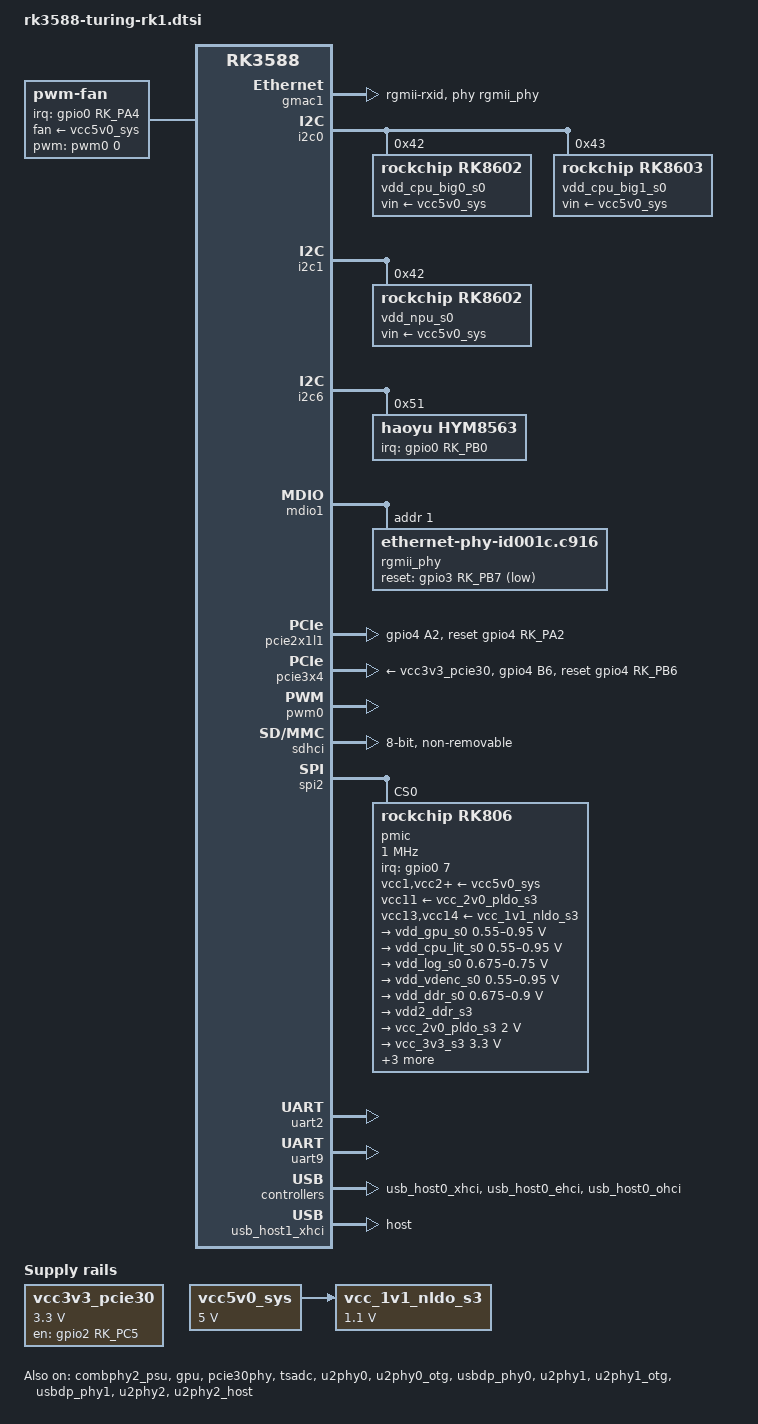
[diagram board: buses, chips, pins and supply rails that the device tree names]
// SPDX-License-Identifier: (GPL-2.0+ OR MIT)
/*
 * Device tree definitions for the Turing RK1 SoM.
 *
 * Copyright (c) 2023 Sam Edwards <CFSworks@gmail.com>
 *
 * Based on RK3588-EVB1 devicetree
 * Copyright (c) 2021 Rockchip Electronics Co., Ltd.
 */

/dts-v1/;
#include <dt-bindings/gpio/gpio.h>
#include <dt-bindings/pinctrl/rockchip.h>
#include "rk3588.dtsi"

/ {
	compatible = "turing,rk1", "rockchip,rk3588";

	aliases {
		ethernet0 = &gmac1;
		mmc0 = &sdhci;
	};

	fan: pwm-fan {
		compatible = "pwm-fan";
		cooling-levels = <0 25 95 145 195 255>;
		fan-supply = <&vcc5v0_sys>;
		pinctrl-names = "default";
		pinctrl-0 = <&pwm0m2_pins &fan_int>;
		interrupt-parent = <&gpio0>;
		interrupts = <RK_PA4 IRQ_TYPE_EDGE_FALLING>;
		pwms = <&pwm0 0 50000 0>;
		#cooling-cells = <2>;
	};

	vcc3v3_pcie30: regulator-vcc3v3-pcie30 {
		compatible = "regulator-fixed";
		regulator-name = "vcc3v3_pcie30";
		regulator-min-microvolt = <3300000>;
		regulator-max-microvolt = <3300000>;
		enable-active-high;
		gpios = <&gpio2 RK_PC5 GPIO_ACTIVE_HIGH>;
		pinctrl-names = "default";
		pinctrl-0 = <&vcc3v3_pcie30_en>;
		startup-delay-us = <5000>;
	};

	vcc5v0_sys: regulator-vcc5v0-sys {
		compatible = "regulator-fixed";
		regulator-name = "vcc5v0_sys";
		regulator-always-on;
		regulator-boot-on;
		regulator-min-microvolt = <5000000>;
		regulator-max-microvolt = <5000000>;
	};

	vcc_1v1_nldo_s3: regulator-vcc-1v1-nldo-s3 {
		compatible = "regulator-fixed";
		regulator-name = "vcc_1v1_nldo_s3";
		regulator-always-on;
		regulator-boot-on;
		regulator-min-microvolt = <1100000>;
		regulator-max-microvolt = <1100000>;
		vin-supply = <&vcc5v0_sys>;
	};
};

&combphy2_psu {
	status = "okay";
};

&cpu_b0 {
	cpu-supply = <&vdd_cpu_big0_s0>;
};

&cpu_b1 {
	cpu-supply = <&vdd_cpu_big0_s0>;
};

&cpu_b2 {
	cpu-supply = <&vdd_cpu_big1_s0>;
};

&cpu_b3 {
	cpu-supply = <&vdd_cpu_big1_s0>;
};

&cpu_l0 {
	cpu-supply = <&vdd_cpu_lit_s0>;
};

&cpu_l1 {
	cpu-supply = <&vdd_cpu_lit_s0>;
};

&cpu_l2 {
	cpu-supply = <&vdd_cpu_lit_s0>;
};

&cpu_l3 {
	cpu-supply = <&vdd_cpu_lit_s0>;
};

&gmac1 {
	clock_in_out = "output";
	phy-handle = <&rgmii_phy>;
	phy-mode = "rgmii-rxid";
	pinctrl-0 = <&gmac1_miim
		     &gmac1_tx_bus2
		     &gmac1_rx_bus2
		     &gmac1_rgmii_clk
		     &gmac1_rgmii_bus>;
	pinctrl-names = "default";
	rx_delay = <0x00>;
	tx_delay = <0x43>;
	status = "okay";
};

&gpu {
	mali-supply = <&vdd_gpu_s0>;
	status = "okay";
};

&i2c0 {
	pinctrl-names = "default";
	pinctrl-0 = <&i2c0m2_xfer>;
	status = "okay";

	vdd_cpu_big0_s0: regulator@42 {
		compatible = "rockchip,rk8602";
		reg = <0x42>;
		fcs,suspend-voltage-selector = <1>;
		regulator-name = "vdd_cpu_big0_s0";
		regulator-always-on;
		regulator-boot-on;
		regulator-min-microvolt = <550000>;
		regulator-max-microvolt = <1050000>;
		regulator-ramp-delay = <2300>;
		vin-supply = <&vcc5v0_sys>;

		regulator-state-mem {
			regulator-off-in-suspend;
		};
	};

	vdd_cpu_big1_s0: regulator@43 {
		compatible = "rockchip,rk8603", "rockchip,rk8602";
		reg = <0x43>;
		fcs,suspend-voltage-selector = <1>;
		regulator-name = "vdd_cpu_big1_s0";
		regulator-always-on;
		regulator-boot-on;
		regulator-min-microvolt = <550000>;
		regulator-max-microvolt = <1050000>;
		regulator-ramp-delay = <2300>;
		vin-supply = <&vcc5v0_sys>;

		regulator-state-mem {
			regulator-off-in-suspend;
		};
	};
};

&i2c1 {
	pinctrl-names = "default";
	pinctrl-0 = <&i2c1m2_xfer>;
	status = "okay";

	vdd_npu_s0: regulator@42 {
		compatible = "rockchip,rk8602";
		reg = <0x42>;
		fcs,suspend-voltage-selector = <1>;
		regulator-name = "vdd_npu_s0";
		regulator-always-on;
		regulator-boot-on;
		regulator-min-microvolt = <550000>;
		regulator-max-microvolt = <950000>;
		regulator-ramp-delay = <2300>;
		vin-supply = <&vcc5v0_sys>;

		regulator-state-mem {
			regulator-off-in-suspend;
		};
	};
};

&i2c6 {
	status = "okay";

	hym8563: rtc@51 {
		compatible = "haoyu,hym8563";
		reg = <0x51>;
		#clock-cells = <0>;
		clock-output-names = "hym8563";
		pinctrl-names = "default";
		pinctrl-0 = <&hym8563_int>;
		interrupt-parent = <&gpio0>;
		interrupts = <RK_PB0 IRQ_TYPE_LEVEL_LOW>;
		wakeup-source;
	};
};

&mdio1 {
	rgmii_phy: ethernet-phy@1 {
		/* RTL8211F */
		compatible = "ethernet-phy-id001c.c916";
		reg = <0x1>;
		pinctrl-names = "default";
		pinctrl-0 = <&rtl8211f_rst>;
		reset-assert-us = <15000>;
		reset-deassert-us = <50000>;
		reset-gpios = <&gpio3 RK_PB7 GPIO_ACTIVE_LOW>;
	};
};

&package_thermal {
	trips {
		package_active1: trip-active1 {
			temperature = <45000>;
			hysteresis = <5000>;
			type = "active";
		};
		package_active2: trip-active2 {
			temperature = <50000>;
			hysteresis = <5000>;
			type = "active";
		};
		package_active3: trip-active3 {
			temperature = <60000>;
			hysteresis = <5000>;
			type = "active";
		};
		package_active4: trip-active4 {
			temperature = <70000>;
			hysteresis = <5000>;
			type = "active";
		};
		package_active5: trip-active5 {
			temperature = <80000>;
			hysteresis = <5000>;
			type = "active";
		};
	};

	cooling-maps {
		map1 {
			trip = <&package_active1>;
			cooling-device = <&fan 1 1>;
		};
		map2 {
			trip = <&package_active2>;
			cooling-device = <&fan 2 2>;
		};
		map3 {
			trip = <&package_active3>;
			cooling-device = <&fan 3 3>;
		};
		map4 {
			trip = <&package_active4>;
			cooling-device = <&fan 4 4>;
		};
		map5 {
			trip = <&package_active5>;
			cooling-device = <&fan 5 5>;
		};
	};
};

&pcie2x1l1 {
	linux,pci-domain = <1>;
	pinctrl-names = "default";
	pinctrl-0 = <&pcie2_reset>, <&pcie30x1m1_0_clkreqn>, <&pcie30x1m1_0_waken>;
	reset-gpios = <&gpio4 RK_PA2 GPIO_ACTIVE_HIGH>;
	status = "okay";
};

&pcie30phy {
	status = "okay";
};

&pcie3x4 {
	linux,pci-domain = <0>;
	pinctrl-names = "default";
	pinctrl-0 = <&pcie3_reset>, <&pcie30x4m1_clkreqn>, <&pcie30x4m1_waken>;
	reset-gpios = <&gpio4 RK_PB6 GPIO_ACTIVE_HIGH>;
	vpcie3v3-supply = <&vcc3v3_pcie30>;
	status = "okay";
};

&pd_gpu {
	domain-supply = <&vdd_gpu_s0>;
};

&pinctrl {
	fan {
		fan_int: fan-int {
			rockchip,pins = <0 RK_PA4 RK_FUNC_GPIO &pcfg_pull_up>;
		};
	};

	hym8563 {
		hym8563_int: hym8563-int {
			rockchip,pins = <0 RK_PB0 RK_FUNC_GPIO &pcfg_pull_up>;
		};
	};

	pcie2 {
		pcie2_reset: pcie2-reset {
			rockchip,pins = <4 RK_PA2 RK_FUNC_GPIO &pcfg_pull_none>;
		};
	};

	pcie3 {
		pcie3_reset: pcie3-reset {
			rockchip,pins = <4 RK_PB6 RK_FUNC_GPIO &pcfg_pull_none>;
		};

		vcc3v3_pcie30_en: pcie3-reg {
			rockchip,pins = <2 RK_PC5 RK_FUNC_GPIO &pcfg_pull_none>;
		};
	};

	rtl8211f {
		rtl8211f_rst: rtl8211f-rst {
			rockchip,pins = <3 RK_PB7 RK_FUNC_GPIO &pcfg_pull_none>;
		};
	};
};

&pwm0 {
	status = "okay";
};

&sdhci {
	bus-width = <8>;
	no-sdio;
	no-sd;
	non-removable;
	mmc-hs400-1_8v;
	mmc-hs400-enhanced-strobe;
	status = "okay";
};

&spi2 {
	status = "okay";
	pinctrl-names = "default";
	pinctrl-0 = <&spi2m2_cs0 &spi2m2_pins>;
	num-cs = <1>;

	pmic@0 {
		compatible = "rockchip,rk806";
		spi-max-frequency = <1000000>;
		reg = <0x0>;

		interrupt-parent = <&gpio0>;
		interrupts = <7 IRQ_TYPE_LEVEL_LOW>;

		pinctrl-names = "default";
		pinctrl-0 = <&pmic_pins>, <&rk806_dvs1_null>,
			    <&rk806_dvs2_null>, <&rk806_dvs3_null>;
		system-power-controller;

		vcc1-supply = <&vcc5v0_sys>;
		vcc2-supply = <&vcc5v0_sys>;
		vcc3-supply = <&vcc5v0_sys>;
		vcc4-supply = <&vcc5v0_sys>;
		vcc5-supply = <&vcc5v0_sys>;
		vcc6-supply = <&vcc5v0_sys>;
		vcc7-supply = <&vcc5v0_sys>;
		vcc8-supply = <&vcc5v0_sys>;
		vcc9-supply = <&vcc5v0_sys>;
		vcc10-supply = <&vcc5v0_sys>;
		vcc11-supply = <&vcc_2v0_pldo_s3>;
		vcc12-supply = <&vcc5v0_sys>;
		vcc13-supply = <&vcc_1v1_nldo_s3>;
		vcc14-supply = <&vcc_1v1_nldo_s3>;
		vcca-supply = <&vcc5v0_sys>;

		gpio-controller;
		#gpio-cells = <2>;

		rk806_dvs1_null: dvs1-null-pins {
			pins = "gpio_pwrctrl1";
			function = "pin_fun0";
		};

		rk806_dvs2_null: dvs2-null-pins {
			pins = "gpio_pwrctrl2";
			function = "pin_fun0";
		};

		rk806_dvs3_null: dvs3-null-pins {
			pins = "gpio_pwrctrl3";
			function = "pin_fun0";
		};

		regulators {
			vdd_gpu_s0: vdd_gpu_mem_s0: dcdc-reg1 {
				/*
				 * RK3588's GPU power domain cannot be enabled
				 * without this regulator active, but it
				 * doesn't have to be on when the GPU PD is
				 * disabled.  Because the PD binding does not
				 * currently allow us to express this
				 * relationship, we have no choice but to do
				 * this instead:
				 */
				regulator-always-on;

				regulator-boot-on;
				regulator-min-microvolt = <550000>;
				regulator-max-microvolt = <950000>;
				regulator-ramp-delay = <12500>;
				regulator-name = "vdd_gpu_s0";
				regulator-enable-ramp-delay = <400>;

				regulator-state-mem {
					regulator-off-in-suspend;
				};
			};

			vdd_cpu_lit_s0: vdd_cpu_lit_mem_s0: dcdc-reg2 {
				regulator-always-on;
				regulator-boot-on;
				regulator-min-microvolt = <550000>;
				regulator-max-microvolt = <950000>;
				regulator-ramp-delay = <12500>;
				regulator-name = "vdd_cpu_lit_s0";

				regulator-state-mem {
					regulator-off-in-suspend;
				};
			};

			vdd_log_s0: dcdc-reg3 {
				regulator-always-on;
				regulator-boot-on;
				regulator-min-microvolt = <675000>;
				regulator-max-microvolt = <750000>;
				regulator-ramp-delay = <12500>;
				regulator-name = "vdd_log_s0";

				regulator-state-mem {
					regulator-off-in-suspend;
					regulator-suspend-microvolt = <750000>;
				};
			};

			vdd_vdenc_s0: vdd_vdenc_mem_s0: dcdc-reg4 {
				regulator-always-on;
				regulator-boot-on;
				regulator-min-microvolt = <550000>;
				regulator-max-microvolt = <950000>;
				regulator-ramp-delay = <12500>;
				regulator-name = "vdd_vdenc_s0";

				regulator-state-mem {
					regulator-off-in-suspend;
				};
			};

			vdd_ddr_s0: dcdc-reg5 {
				regulator-always-on;
				regulator-boot-on;
				regulator-min-microvolt = <675000>;
				regulator-max-microvolt = <900000>;
				regulator-ramp-delay = <12500>;
				regulator-name = "vdd_ddr_s0";

				regulator-state-mem {
					regulator-off-in-suspend;
					regulator-suspend-microvolt = <850000>;
				};
			};

			vdd2_ddr_s3: dcdc-reg6 {
				regulator-always-on;
				regulator-boot-on;
				regulator-name = "vdd2_ddr_s3";

				regulator-state-mem {
					regulator-on-in-suspend;
				};
			};

			vcc_2v0_pldo_s3: dcdc-reg7 {
				regulator-always-on;
				regulator-boot-on;
				regulator-min-microvolt = <2000000>;
				regulator-max-microvolt = <2000000>;
				regulator-ramp-delay = <12500>;
				regulator-name = "vdd_2v0_pldo_s3";

				regulator-state-mem {
					regulator-on-in-suspend;
					regulator-suspend-microvolt = <2000000>;
				};
			};

			vcc_3v3_s3: dcdc-reg8 {
				regulator-always-on;
				regulator-boot-on;
				regulator-min-microvolt = <3300000>;
				regulator-max-microvolt = <3300000>;
				regulator-name = "vcc_3v3_s3";

				regulator-state-mem {
					regulator-on-in-suspend;
					regulator-suspend-microvolt = <3300000>;
				};
			};

			vddq_ddr_s0: dcdc-reg9 {
				regulator-always-on;
				regulator-boot-on;
				regulator-name = "vddq_ddr_s0";

				regulator-state-mem {
					regulator-off-in-suspend;
				};
			};

			vcc_1v8_s3: dcdc-reg10 {
				regulator-always-on;
				regulator-boot-on;
				regulator-min-microvolt = <1800000>;
				regulator-max-microvolt = <1800000>;
				regulator-name = "vcc_1v8_s3";

				regulator-state-mem {
					regulator-on-in-suspend;
					regulator-suspend-microvolt = <1800000>;
				};
			};

			avcc_1v8_s0: pldo-reg1 {
				regulator-always-on;
				regulator-boot-on;
				regulator-min-microvolt = <1800000>;
				regulator-max-microvolt = <1800000>;
				regulator-name = "avcc_1v8_s0";

				regulator-state-mem {
					regulator-off-in-suspend;
				};
			};

			vcc_1v8_s0: pldo-reg2 {
				regulator-always-on;
				regulator-boot-on;
				regulator-min-microvolt = <1800000>;
				regulator-max-microvolt = <1800000>;
				regulator-name = "vcc_1v8_s0";

				regulator-state-mem {
					regulator-off-in-suspend;
					regulator-suspend-microvolt = <1800000>;
				};
			};

			avdd_1v2_s0: pldo-reg3 {
				regulator-always-on;
				regulator-boot-on;
				regulator-min-microvolt = <1200000>;
				regulator-max-microvolt = <1200000>;
				regulator-name = "avdd_1v2_s0";

				regulator-state-mem {
					regulator-off-in-suspend;
				};
			};

			vcc_3v3_s0: pldo-reg4 {
				regulator-always-on;
				regulator-boot-on;
				regulator-min-microvolt = <3300000>;
				regulator-max-microvolt = <3300000>;
				regulator-ramp-delay = <12500>;
				regulator-name = "vcc_3v3_s0";

				regulator-state-mem {
					regulator-off-in-suspend;
				};
			};

			vccio_sd_s0: pldo-reg5 {
				regulator-always-on;
				regulator-boot-on;
				regulator-min-microvolt = <1800000>;
				regulator-max-microvolt = <3300000>;
				regulator-ramp-delay = <12500>;
				regulator-name = "vccio_sd_s0";

				regulator-state-mem {
					regulator-off-in-suspend;
				};
			};

			pldo6_s3: pldo-reg6 {
				regulator-always-on;
				regulator-boot-on;
				regulator-min-microvolt = <1800000>;
				regulator-max-microvolt = <1800000>;
				regulator-name = "pldo6_s3";

				regulator-state-mem {
					regulator-on-in-suspend;
					regulator-suspend-microvolt = <1800000>;
				};
			};

			vdd_0v75_s3: nldo-reg1 {
				regulator-always-on;
				regulator-boot-on;
				regulator-min-microvolt = <750000>;
				regulator-max-microvolt = <750000>;
				regulator-name = "vdd_0v75_s3";

				regulator-state-mem {
					regulator-on-in-suspend;
					regulator-suspend-microvolt = <750000>;
				};
			};

			vdd_ddr_pll_s0: nldo-reg2 {
				regulator-always-on;
				regulator-boot-on;
				regulator-min-microvolt = <850000>;
				regulator-max-microvolt = <850000>;
				regulator-name = "vdd_ddr_pll_s0";

				regulator-state-mem {
					regulator-off-in-suspend;
					regulator-suspend-microvolt = <850000>;
				};
			};

			avdd_0v75_s0: nldo-reg3 {
				regulator-always-on;
				regulator-boot-on;
				regulator-min-microvolt = <750000>;
				regulator-max-microvolt = <750000>;
				regulator-name = "avdd_0v75_s0";

				regulator-state-mem {
					regulator-off-in-suspend;
				};
			};

			vdd_0v85_s0: nldo-reg4 {
				regulator-always-on;
				regulator-boot-on;
				regulator-min-microvolt = <850000>;
				regulator-max-microvolt = <850000>;
				regulator-name = "vdd_0v85_s0";

				regulator-state-mem {
					regulator-off-in-suspend;
				};
			};

			vdd_0v75_s0: nldo-reg5 {
				regulator-always-on;
				regulator-boot-on;
				regulator-min-microvolt = <750000>;
				regulator-max-microvolt = <750000>;
				regulator-name = "vdd_0v75_s0";

				regulator-state-mem {
					regulator-off-in-suspend;
				};
			};
		};
	};
};

&tsadc {
	status = "okay";
};

&uart2 {
	pinctrl-0 = <&uart2m0_xfer>;
	status = "okay";
};

&uart9 {
	pinctrl-0 = <&uart9m0_xfer>;
	status = "okay";
};

/* USB 0: USB 2.0 only, OTG-capable */
&u2phy0 {
	status = "okay";
};

&u2phy0_otg {
	status = "okay";
};

&usbdp_phy0 {
	/*
	 * TODO: On the RK1, USBDP0 drives the DisplayPort pins and is not
	 * involved in this USB2-only bus. The bus controller (below) needs to
	 * know that it doesn't have a USB3 port so it can ignore any
	 * USB3-related signals. This is handled in hardware by updating the
	 * GRFs corresponding to that bus controller. Alas, Linux currently
	 * puts the code to do that in the USBDP driver, so USBDP0 must be
	 * enabled for now.
	 */
	rockchip,dp-lane-mux = <0 1 2 3>; /* "No USB lanes" */
	status = "okay";
};

&usb_host0_xhci {
	extcon = <&u2phy0>;
	maximum-speed = "high-speed";
	status = "okay";
};

/* USB 1: USB 3.0, host only */
&u2phy1 {
	status = "okay";
};

&u2phy1_otg {
	status = "okay";
};

&usbdp_phy1 {
	status = "okay";
};

&usb_host1_xhci {
	dr_mode = "host";
	extcon = <&u2phy1>;
	status = "okay";
};

/* USB 2: USB 2.0, host only */
&u2phy2 {
	status = "okay";
};

&u2phy2_host {
	status = "okay";
};

&usb_host0_ehci {
	status = "okay";
};

&usb_host0_ohci {
	status = "okay";
};
